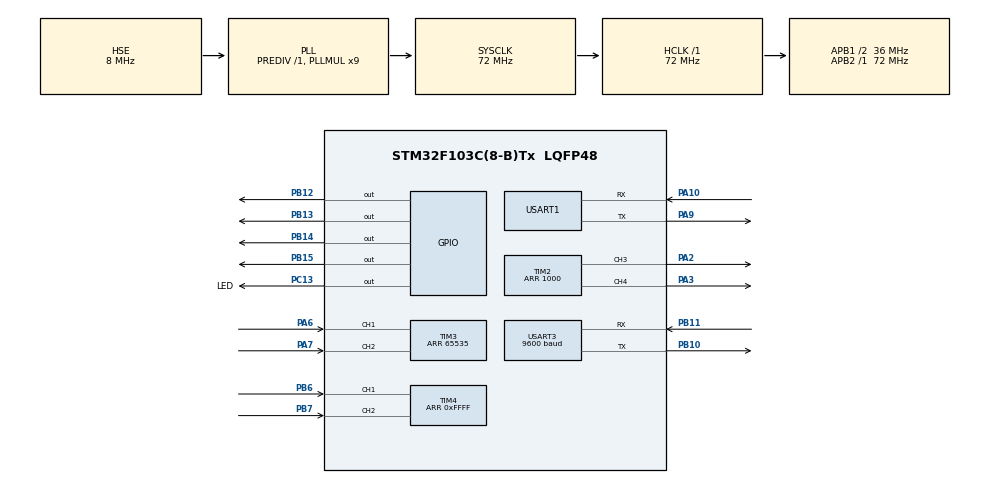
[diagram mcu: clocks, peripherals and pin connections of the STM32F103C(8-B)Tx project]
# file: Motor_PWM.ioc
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Mcu.Family=STM32F1
Mcu.Name=STM32F103C(8-B)Tx
Mcu.Package=LQFP48
NVIC.PriorityGroup=NVIC_PRIORITYGROUP_4
NVIC.RTC_Alarm_IRQn=true\:0\:0\:false\:false\:true\:true\:true
NVIC.TIM1_UP_IRQn=true\:0\:0\:false\:false\:true\:true\:true
NVIC.TIM2_IRQn=true\:0\:0\:false\:false\:true\:true\:true
NVIC.TIM3_IRQn=true\:0\:0\:false\:false\:true\:true\:true
NVIC.TIM4_IRQn=true\:0\:0\:false\:false\:true\:true\:true
NVIC.USART1_IRQn=true\:0\:0\:false\:false\:true\:true\:true
NVIC.USART3_IRQn=true\:0\:0\:false\:false\:true\:true\:true
PA10.Mode=Asynchronous
PA10.Signal=USART1_RX
PA13.Mode=Serial_Wire
PA13.Signal=SYS_JTMS-SWDIO
PA14.Mode=Serial_Wire
PA14.Signal=SYS_JTCK-SWCLK
PA2.Signal=S_TIM2_CH3
PA3.Signal=S_TIM2_CH4
PA6.Signal=S_TIM3_CH1
PA7.Signal=S_TIM3_CH2
PA9.Mode=Asynchronous
PA9.Signal=USART1_TX
PB10.Mode=Asynchronous
PB10.Signal=USART3_TX
PB11.Mode=Asynchronous
PB11.Signal=USART3_RX
PB12.Signal=GPIO_Output
PB13.Signal=GPIO_Output
PB14.Signal=GPIO_Output
PB15.Signal=GPIO_Output
PB6.Signal=S_TIM4_CH1
PB7.Signal=S_TIM4_CH2
PC13-TAMPER-RTC.GPIO_Label=LED
PC13-TAMPER-RTC.Signal=GPIO_Output
PC14-OSC32_IN.Mode=LSE-External-Oscillator
PC14-OSC32_IN.Signal=RCC_OSC32_IN
PC15-OSC32_OUT.Mode=LSE-External-Oscillator
PC15-OSC32_OUT.Signal=RCC_OSC32_OUT
PD0-OSC_IN.Mode=HSE-External-Oscillator
PD0-OSC_IN.Signal=RCC_OSC_IN
PD1-OSC_OUT.Mode=HSE-External-Oscillator
PD1-OSC_OUT.Signal=RCC_OSC_OUT
ProjectManager.HeapSize=0x200
ProjectManager.StackSize=0x400
ProjectManager.TargetToolchain=MDK-ARM V5.27
RCC.AHBFreq_Value=72000000
RCC.APB1CLKDivider=RCC_HCLK_DIV2
RCC.APB1Freq_Value=36000000
RCC.APB1TimFreq_Value=72000000
RCC.APB2Freq_Value=72000000
RCC.APB2TimFreq_Value=72000000
RCC.HCLKFreq_Value=72000000
RCC.PLLMUL=RCC_PLL_MUL9
RCC.PLLSourceVirtual=RCC_PLLSOURCE_HSE
RCC.RTCClockSelection=RCC_RTCCLKSOURCE_LSE
RCC.SYSCLKFreq_VALUE=72000000
RCC.SYSCLKSource=RCC_SYSCLKSOURCE_PLLCLK
RCC.USBFreq_Value=72000000
RTC.Format=RTC_FORMAT_BIN
SH.S_TIM2_CH3.0=TIM2_CH3,PWM Generation3 CH3
SH.S_TIM2_CH4.0=TIM2_CH4,PWM Generation4 CH4
SH.S_TIM3_CH1.0=TIM3_CH1,Encoder_Interface
SH.S_TIM3_CH2.0=TIM3_CH2,Encoder_Interface
SH.S_TIM4_CH1.0=TIM4_CH1,Encoder_Interface
SH.S_TIM4_CH2.0=TIM4_CH2,Encoder_Interface
TIM1.Period=1000-1
TIM1.Prescaler=7200-1
TIM2.Channel-PWM\ Generation3\ CH3=TIM_CHANNEL_3
TIM2.Channel-PWM\ Generation4\ CH4=TIM_CHANNEL_4
TIM2.Period=1000
TIM2.Pulse-PWM\ Generation3\ CH3=500
TIM2.Pulse-PWM\ Generation4\ CH4=500
TIM3.IC1Filter=6
TIM3.IC2Filter=6
TIM3.Period=65535
TIM4.IC1Filter=6
TIM4.IC2Filter=6
TIM4.Period=0xFFFF
USART1.VirtualMode=VM_ASYNC
USART3.BaudRate=9600
USART3.VirtualMode=VM_ASYNC
VP_RTC_No_RTC_Output.Mode=RTC_OUT_NO
VP_RTC_VS_RTC_Activate.Mode=RTC_Enabled
VP_RTC_VS_RTC_Calendar.Mode=RTC_Calendar
VP_TIM1_VS_ClockSourceINT.Mode=Internal
VP_TIM2_VS_ClockSourceINT.Mode=Internal
board=custom

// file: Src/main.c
/* USER CODE BEGIN Header */
/**
  ******************************************************************************
  * @file           : main.c
  * @brief          : Main program body
  ******************************************************************************
  * @attention
  *
  * <h2><center>&copy; Copyright (c) 2020 STMicroelectronics.
  * All rights reserved.</center></h2>
  *
  * This software component is licensed by ST under BSD 3-Clause license,
  * the "License"; You may not use this file except in compliance with the
  * License. You may obtain a copy of the License at:
  *                        opensource.org/licenses/BSD-3-Clause
  *
  ******************************************************************************
  */
/* USER CODE END Header */

#include "main.h"
#include "rtc.h"
#include "tim.h"
#include "usart.h"
#include "gpio.h"

/* USER CODE BEGIN Includes */
#include "stdio.h"
#include "motor.h"
#include "string.h"
#include "ctype.h"

/* USER CODE END Includes */

/* USER CODE BEGIN PTD */

#define RXBUFFERSIZE  256     //???????
char RxBuffer[RXBUFFERSIZE];   //????
uint8_t aRxBuffer;			//??????
uint8_t Uart1_Rx_Cnt = 0;
unsigned char RxBuf;//用于暂存USART1 数据
unsigned char RecFlag = 0;//USART1接收完成标志 1：完成
uint8_t TxData[] = "欢迎来到STM32的世界！"; //发送信息

unsigned char RxData[20]; //USART1串口数据缓存

static unsigned char i=0;
char flag=0;
int voltage=0;
/* USER CODE END PTD */

/* USER CODE BEGIN PD */
int plase=0;
/* USER CODE END PD */

/* USER CODE BEGIN PM */
	uint16_t u16TempLeft;   //
  uint16_t u16TempRight;
  int Voltage=0;
  float leftspeed,rightspeed,sumspeed;
  char speed[10];
  float L;      //需要行驶的路程
  int Angle=90,wheelbase=22;
  char disflag=0;   //0表示第一次进入函数，1表示函数在持续运算中
  char turn=1;    //左转或右转
/* USER CODE END PM */

void SystemClock_Config(void);

/* USER CODE BEGIN 0 */
//int fputc(int ch, FILE *f)
//{
//  HAL_UART_Transmit(&huart3, (uint8_t *)&ch, 1, 0xffff);
//  return ch;
//}
//int fgetc(FILE *f)
//{
//  uint8_t ch = 0;
//  HAL_UART_Receive(&huart3, &ch, 1, 0xffff);
//  return ch;
//}
/* USER CODE END 0 */

int main(void)
{
  /* USER CODE BEGIN 1 */
 char ss[11]={'#','#','S','=','0','0','0','0','0','&','&'};
  /* USER CODE END 1 */

  /* MCU Configuration--------------------------------------------------------*/

  /* Reset of all peripherals, Initializes the Flash interface and the Systick. */
  HAL_Init();

  /* Configure the system clock */
  SystemClock_Config();

  /* Initialize all configured peripherals */
  MX_GPIO_Init();
  MX_RTC_Init();
  MX_TIM1_Init();
  MX_TIM2_Init();
  MX_USART3_UART_Init();
  MX_TIM3_Init();
  MX_TIM4_Init();
  MX_USART1_UART_Init();
  /* USER CODE BEGIN 2 */
  HAL_TIM_Encoder_Start(&htim3,TIM_CHANNEL_ALL);
	HAL_TIM_Encoder_Start(&htim4,TIM_CHANNEL_ALL);
	HAL_TIM_Base_Start_IT(&htim1);
	HAL_TIM_PWM_Start(&htim2,TIM_CHANNEL_3);
	HAL_TIM_PWM_Start(&htim2,TIM_CHANNEL_4);
  HAL_UART_Receive_IT(&huart3, (uint8_t *)&aRxBuffer, 1);
  //printf("ready\r\n");
	//dianjioutput(300);
  /* USER CODE END 2 */

  /* Infinite loop */
  while (1)
  {

    /* USER CODE BEGIN 3 */
    //printf("run\r\n");
    //printf("%f\r\n",u16TempLeft);
    //printf("%f\r\n",u16TempRight);
//    //车速部分
    u16TempLeft=__HAL_TIM_GET_COUNTER(&htim3);
		u16TempRight=__HAL_TIM_GET_COUNTER(&htim4);
    leftspeed=u16TempLeft*21.0/33/16;     //此时单位cm/s
    rightspeed=u16TempRight*21.0/33/16;
    if(u16TempLeft>30000)
      leftspeed=(65535-u16TempLeft)*21.0/33/16;
    if(u16TempRight>30000)
      rightspeed=(65535-u16TempRight)*21.0/33/16;

		//printf("左侧转速为：%d\r\n",u16TempLeft);
		//printf("右侧转速为：%d\r\n",u16TempRight);
    sumspeed=(leftspeed+rightspeed)/100.0/2;
    sprintf(speed, "%f", sumspeed);

    //speed[0]=sumspeed/10+'0';
    ss[4]=(char)sumspeed%10+'0';
    ss[5]='.';
    ss[6]=(char)(sumspeed*10)%10+'0';
    ss[7]=(char)(sumspeed*100)%10+'0';
    ss[8]=(char)(sumspeed*1000)%10+'0';
//    for(char i=0;i<5;i++)
//    {
//      printf("%c\n",speed[i]);
//    }
    //printf("s=%s\r\n",speed);    //车速，单位m/s，字符串
//    for(i=0;i<11;i++)
//		{
//			HAL_UART_Transmit(&huart3,&ss[i],1,1000);
//			HAL_Delay(2);
//		}
    //车速，单位m/s，字符串
    //printf("s=%f\r\n",sumspeed);    //float型
		//printf("\r\n",rightspeed/100.0);   //右侧车速，单位m/s
//    if(disflag==0)
//    {
//      L=distance_output(Angle,wheelbase);
//      disflag=1;
//    }
//    else
//      L=turning_time_output(L,turn,disflag);
    //printf("剩余路程：%f\r\n",L);
    //printf("\r\n");

		__HAL_TIM_SET_COUNTER(&htim3,0);
		__HAL_TIM_SET_COUNTER(&htim4,0);
    //车速部分结束

    if(flag==1)
    {
      HAL_Delay(500);flag=0;
      //printf("**%s&& \r\n",RxData);//接收信息
      if(strstr(RxData,"s0l0r0f0b0&&")!=NULL )    //停
      {
        //printf("s0l0r0f0b0\r\n");
        dianjioutput(0);
      }
      else if(strstr(RxData,"s1l0r0f0b0&&")!=NULL )   //启
      {
        //printf("s1l0r0f0b0\r\n");
        dianjioutput(0);
      }
      else if(strstr(RxData,"s1l0r0f1b0&&")!=NULL )   //前进
      {
        //printf("s1l0r0f0b0\r\n");
        dianjioutput(500);
      }
      else if(strstr(RxData,"s1l0r0f0b1&&")!=NULL )   //后退
      {
        //printf("s1l0r0f0b1\r\n");
        dianjioutput(-300);
      }
      else if(strstr(RxData,"s1l0r1f1b0&&")!=NULL )   //右转
      {
        //printf("s1l0r1f1b0\r\n");
        leftrightoutput(3);
      }
      else if(strstr(RxData,"s1l1r0f1b0&&")!=NULL )   //左转
      {
        //printf("s1l1r0f1b0\r\n");
        leftrightoutput(2);
      }

      memset(RxData,0,sizeof(RxData));
			i=0;
    }
		HAL_Delay(1000);
  }
  /* USER CODE END 3 */
}

void SystemClock_Config(void)
{
  RCC_OscInitTypeDef RCC_OscInitStruct = {0};
  RCC_ClkInitTypeDef RCC_ClkInitStruct = {0};
  RCC_PeriphCLKInitTypeDef PeriphClkInit = {0};

  /** Initializes the CPU, AHB and APB busses clocks
  */
  RCC_OscInitStruct.OscillatorType = RCC_OSCILLATORTYPE_HSE|RCC_OSCILLATORTYPE_LSE;
  RCC_OscInitStruct.HSEState = RCC_HSE_ON;
  RCC_OscInitStruct.HSEPredivValue = RCC_HSE_PREDIV_DIV1;
  RCC_OscInitStruct.LSEState = RCC_LSE_ON;
  RCC_OscInitStruct.HSIState = RCC_HSI_ON;
  RCC_OscInitStruct.PLL.PLLState = RCC_PLL_ON;
  RCC_OscInitStruct.PLL.PLLSource = RCC_PLLSOURCE_HSE;
  RCC_OscInitStruct.PLL.PLLMUL = RCC_PLL_MUL9;
  if (HAL_RCC_OscConfig(&RCC_OscInitStruct) != HAL_OK)
  {
    Error_Handler();
  }
  /** Initializes the CPU, AHB and APB busses clocks
  */
  RCC_ClkInitStruct.ClockType = RCC_CLOCKTYPE_HCLK|RCC_CLOCKTYPE_SYSCLK
                              |RCC_CLOCKTYPE_PCLK1|RCC_CLOCKTYPE_PCLK2;
  RCC_ClkInitStruct.SYSCLKSource = RCC_SYSCLKSOURCE_PLLCLK;
  RCC_ClkInitStruct.AHBCLKDivider = RCC_SYSCLK_DIV1;
  RCC_ClkInitStruct.APB1CLKDivider = RCC_HCLK_DIV2;
  RCC_ClkInitStruct.APB2CLKDivider = RCC_HCLK_DIV1;

  if (HAL_RCC_ClockConfig(&RCC_ClkInitStruct, FLASH_LATENCY_2) != HAL_OK)
  {
    Error_Handler();
  }
  PeriphClkInit.PeriphClockSelection = RCC_PERIPHCLK_RTC;
  PeriphClkInit.RTCClockSelection = RCC_RTCCLKSOURCE_LSE;
  if (HAL_RCCEx_PeriphCLKConfig(&PeriphClkInit) != HAL_OK)
  {
    Error_Handler();
  }
}

/* USER CODE BEGIN 4 */
void USART1_WRITE_DATA_IN_Buf(unsigned char data)
{
		RxData[i++] = data;
		HAL_UART_Receive_IT(&huart3, &RxBuf, 1);  //重新打开USART1接收中断
}
void HAL_UART_RxCpltCallback(UART_HandleTypeDef *huart)
{

	if(huart == &huart3)  //判断是哪个串口产生的中断
	{
		flag=1;
		USART1_WRITE_DATA_IN_Buf(RxBuf); //向USART1串口缓冲区写入数据

	}
}
/* USER CODE END 4 */

void Error_Handler(void)
{
}

/************************ (C) COPYRIGHT STMicroelectronics *****END OF FILE****/
